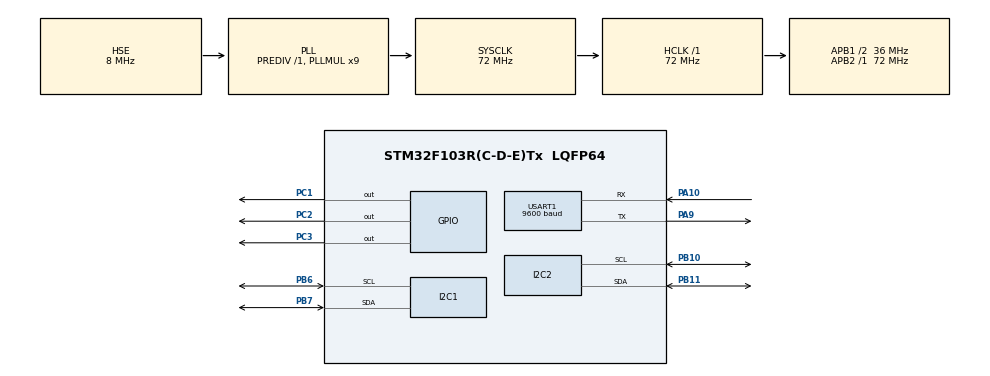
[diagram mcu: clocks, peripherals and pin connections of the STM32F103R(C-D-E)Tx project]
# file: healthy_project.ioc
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FREERTOS.Tasks01=MAX30102_Task,40,512,StartMAX30102Task,Default,NULL,Dynamic,NULL,NULL;ADXL345_Task,40,512,StartADXL345Task,Default,NULL,Dynamic,NULL,NULL;OLED_Task,24,256,StartOLEDTask,Default,NULL,Dynamic,NULL,NULL;BLE_Task,24,256,StartBLETask,Default,NULL,Dynamic,NULL,NULL;Alarm_Task,8,128,StartAlarmTask,Default,NULL,Dynamic,NULL,NULL
FREERTOS.configTOTAL_HEAP_SIZE=16384
I2C1.I2C_Mode=I2C_Fast
Mcu.Family=STM32F1
Mcu.Name=STM32F103R(C-D-E)Tx
Mcu.Package=LQFP64
NVIC.PriorityGroup=NVIC_PRIORITYGROUP_4
NVIC.TIM2_IRQn=true\:0\:0\:false\:false\:true\:false\:true\:true
NVIC.USART1_IRQn=true\:3\:0\:true\:false\:true\:false\:true\:true
PA10.Mode=Asynchronous
PA10.Signal=USART1_RX
PA13.Mode=Serial_Wire
PA13.Signal=SYS_JTMS-SWDIO
PA14.Mode=Serial_Wire
PA14.Signal=SYS_JTCK-SWCLK
PA9.Mode=Asynchronous
PA9.Signal=USART1_TX
PB10.Mode=I2C
PB10.Signal=I2C2_SCL
PB11.Mode=I2C
PB11.Signal=I2C2_SDA
PB6.Mode=I2C
PB6.Signal=I2C1_SCL
PB7.Mode=I2C
PB7.Signal=I2C1_SDA
PC1.GPIO_ModeDefaultOutputPP=GPIO_MODE_OUTPUT_PP
PC1.GPIO_PuPd=GPIO_PULLDOWN
PC1.Signal=GPIO_Output
PC2.GPIO_PuPd=GPIO_PULLUP
PC2.PinState=GPIO_PIN_SET
PC2.Signal=GPIO_Output
PC3.GPIO_PuPd=GPIO_PULLUP
PC3.PinState=GPIO_PIN_SET
PC3.Signal=GPIO_Output
PD0-OSC_IN.Mode=HSE-External-Oscillator
PD0-OSC_IN.Signal=RCC_OSC_IN
PD1-OSC_OUT.Mode=HSE-External-Oscillator
PD1-OSC_OUT.Signal=RCC_OSC_OUT
ProjectManager.HeapSize=0x200
ProjectManager.StackSize=0x400
ProjectManager.TargetToolchain=MDK-ARM V5.27
RCC.AHBFreq_Value=72000000
RCC.APB1CLKDivider=RCC_HCLK_DIV2
RCC.APB1Freq_Value=36000000
RCC.APB1TimFreq_Value=72000000
RCC.APB2Freq_Value=72000000
RCC.APB2TimFreq_Value=72000000
RCC.HCLKFreq_Value=72000000
RCC.PLLMUL=RCC_PLL_MUL9
RCC.PLLSourceVirtual=RCC_PLLSOURCE_HSE
RCC.SYSCLKFreq_VALUE=72000000
RCC.SYSCLKSource=RCC_SYSCLKSOURCE_PLLCLK
RCC.USBFreq_Value=72000000
TIM2.Period=100-1
TIM2.Prescaler=7200-1
USART1.BaudRate=9600
USART1.VirtualMode=VM_ASYNC
VP_FREERTOS_VS_CMSIS_V2.Mode=CMSIS_V2
VP_TIM2_VS_ClockSourceINT.Mode=Internal
board=custom

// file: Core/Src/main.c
/* USER CODE BEGIN Header */
/**
  ******************************************************************************
  * @file           : main.c
  * @brief          : Main program body
  ******************************************************************************
  * @attention
  *
  * <h2><center>&copy; Copyright (c) 2026 STMicroelectronics.
  * All rights reserved.</center></h2>
  *
  * This software component is licensed by ST under BSD 3-Clause license,
  * the "License"; You may not use this file except in compliance with the
  * License. You may obtain a copy of the License at:
  *                        opensource.org/licenses/BSD-3-Clause
  *
  ******************************************************************************
  */
/* USER CODE END Header */
#include "main.h"
#include "cmsis_os.h"
#include "i2c.h"
#include "tim.h"
#include "usart.h"
#include "gpio.h"

/* USER CODE BEGIN Includes */
#include "MAX30102.h"
#include "algorithm.h"
#include "blood.h"
#include "oled.h"
#include "adxl345.h"
#include "alarm.h"
#include <string.h>
#include <stdio.h>
/* USER CODE END Includes */

/* USER CODE BEGIN PV */
HealthData_t g_health;
osMutexId_t healthMutexHandle;
/* USER CODE END PV */

void SystemClock_Config(void);
void MX_FREERTOS_Init(void);

/* USER CODE BEGIN 0 */

 // TIM2回调函数
//void HAL_TIM_PeriodElapsedCallback(TIM_HandleTypeDef *htim)
//{
//    if (htim->Instance == TIM2)
//    {
//        /* 20 ms 计步 */
//        cnt = detect_step(&peak, &slid, &cur_sample);
//		}
//}
/* USER CODE END 0 */

int main(void)
{
  HAL_Init();

  /* Configure the system clock */
  SystemClock_Config();

  /* Initialize all configured peripherals */
  MX_GPIO_Init();
  MX_I2C1_Init();
  MX_TIM2_Init();
  MX_USART1_UART_Init();
  MX_I2C2_Init();
  /* USER CODE BEGIN 2 */
	OLED_Init();
	OLED_Clear();

	Max30102_reset();     //    max30102复位
	MAX30102_Config();    //    max30102配置
	ADXL345_Init(&hi2c2);	//    adxl345初始化

	OLED_ShowString(0, 0, "config ok!", 12, 0);
	OLED_ShowString(0, 1, "Step:", 12, 0);
  OLED_ShowString(0, 2, "Spo2:", 12, 0);
	OLED_ShowString(0, 3, "Heart:", 12, 0);

  /* USER CODE END 2 */

  /* Init scheduler */
  osKernelInitialize();  /* Call init function for freertos objects (in freertos.c) */
  MX_FREERTOS_Init();
  /* Start scheduler */
  osKernelStart();

  while (1)
  {

  }
}

void SystemClock_Config(void)
{
  RCC_OscInitTypeDef RCC_OscInitStruct = {0};
  RCC_ClkInitTypeDef RCC_ClkInitStruct = {0};

  /** Initializes the RCC Oscillators according to the specified parameters
  * in the RCC_OscInitTypeDef structure.
  */
  RCC_OscInitStruct.OscillatorType = RCC_OSCILLATORTYPE_HSE;
  RCC_OscInitStruct.HSEState = RCC_HSE_ON;
  RCC_OscInitStruct.HSEPredivValue = RCC_HSE_PREDIV_DIV1;
  RCC_OscInitStruct.HSIState = RCC_HSI_ON;
  RCC_OscInitStruct.PLL.PLLState = RCC_PLL_ON;
  RCC_OscInitStruct.PLL.PLLSource = RCC_PLLSOURCE_HSE;
  RCC_OscInitStruct.PLL.PLLMUL = RCC_PLL_MUL9;
  if (HAL_RCC_OscConfig(&RCC_OscInitStruct) != HAL_OK)
  {
    Error_Handler();
  }
  /** Initializes the CPU, AHB and APB buses clocks
  */
  RCC_ClkInitStruct.ClockType = RCC_CLOCKTYPE_HCLK|RCC_CLOCKTYPE_SYSCLK
                              |RCC_CLOCKTYPE_PCLK1|RCC_CLOCKTYPE_PCLK2;
  RCC_ClkInitStruct.SYSCLKSource = RCC_SYSCLKSOURCE_PLLCLK;
  RCC_ClkInitStruct.AHBCLKDivider = RCC_SYSCLK_DIV1;
  RCC_ClkInitStruct.APB1CLKDivider = RCC_HCLK_DIV2;
  RCC_ClkInitStruct.APB2CLKDivider = RCC_HCLK_DIV1;

  if (HAL_RCC_ClockConfig(&RCC_ClkInitStruct, FLASH_LATENCY_2) != HAL_OK)
  {
    Error_Handler();
  }
}

void Error_Handler(void)
{
}

/************************ (C) COPYRIGHT STMicroelectronics *****END OF FILE****/

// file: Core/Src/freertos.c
/* USER CODE BEGIN Header */
/**
  ******************************************************************************
  * File Name          : freertos.c
  * Description        : Code for freertos applications
  ******************************************************************************
  * @attention
  *
  * <h2><center>&copy; Copyright (c) 2026 STMicroelectronics.
  * All rights reserved.</center></h2>
  *
  * This software component is licensed by ST under Ultimate Liberty license
  * SLA0044, the "License"; You may not use this file except in compliance with
  * the License. You may obtain a copy of the License at:
  *                             www.st.com/SLA0044
  *
  ******************************************************************************
  */
/* USER CODE END Header */

#include "FreeRTOS.h"
#include "task.h"
#include "main.h"
#include "cmsis_os.h"

/* Definitions for MAX30102_Task */
osThreadId_t MAX30102_TaskHandle;
const osThreadAttr_t MAX30102_Task_attributes = {
  .name = "MAX30102_Task",
  .priority = (osPriority_t) osPriorityHigh,
  .stack_size = 512 * 4
};
/* Definitions for ADXL345_Task */
osThreadId_t ADXL345_TaskHandle;
const osThreadAttr_t ADXL345_Task_attributes = {
  .name = "ADXL345_Task",
  .priority = (osPriority_t) osPriorityHigh,
  .stack_size = 512 * 4
};
/* Definitions for OLED_Task */
osThreadId_t OLED_TaskHandle;
const osThreadAttr_t OLED_Task_attributes = {
  .name = "OLED_Task",
  .priority = (osPriority_t) osPriorityNormal,
  .stack_size = 256 * 4
};
/* Definitions for BLE_Task */
osThreadId_t BLE_TaskHandle;
const osThreadAttr_t BLE_Task_attributes = {
  .name = "BLE_Task",
  .priority = (osPriority_t) osPriorityNormal,
  .stack_size = 256 * 4
};
/* Definitions for Alarm_Task */
osThreadId_t Alarm_TaskHandle;
const osThreadAttr_t Alarm_Task_attributes = {
  .name = "Alarm_Task",
  .priority = (osPriority_t) osPriorityLow,
  .stack_size = 128 * 4
};

void StartMAX30102Task(void *argument);
void StartADXL345Task(void *argument);
void StartOLEDTask(void *argument);
void StartBLETask(void *argument);
void StartAlarmTask(void *argument);

void MX_FREERTOS_Init(void); /* (MISRA C 2004 rule 8.1) */

void MX_FREERTOS_Init(void) {

  /* USER CODE BEGIN RTOS_MUTEX */
  /* add mutexes, ... */
  healthMutexHandle = osMutexNew(NULL);
  if (healthMutexHandle == NULL)
  {
    Error_Handler();
  }
  /* USER CODE END RTOS_MUTEX */

  /* Create the thread(s) */
  /* creation of MAX30102_Task */
  MAX30102_TaskHandle = osThreadNew(StartMAX30102Task, NULL, &MAX30102_Task_attributes);

  /* creation of ADXL345_Task */
  ADXL345_TaskHandle = osThreadNew(StartADXL345Task, NULL, &ADXL345_Task_attributes);

  /* creation of OLED_Task */
  OLED_TaskHandle = osThreadNew(StartOLEDTask, NULL, &OLED_Task_attributes);

  /* creation of BLE_Task */
  BLE_TaskHandle = osThreadNew(StartBLETask, NULL, &BLE_Task_attributes);

  /* creation of Alarm_Task */
  Alarm_TaskHandle = osThreadNew(StartAlarmTask, NULL, &Alarm_Task_attributes);

}

__weak void StartMAX30102Task(void *argument)
{
  for(;;)
  {
    osDelay(1);
  }
}

__weak void StartADXL345Task(void *argument)
{
  for(;;)
  {
    osDelay(1);
  }
}

__weak void StartOLEDTask(void *argument)
{
  for(;;)
  {
    osDelay(1);
  }
}

__weak void StartBLETask(void *argument)
{
  for(;;)
  {
    osDelay(1);
  }
}

__weak void StartAlarmTask(void *argument)
{
  for(;;)
  {
    osDelay(1);
  }
}

/************************ (C) COPYRIGHT STMicroelectronics *****END OF FILE****/
